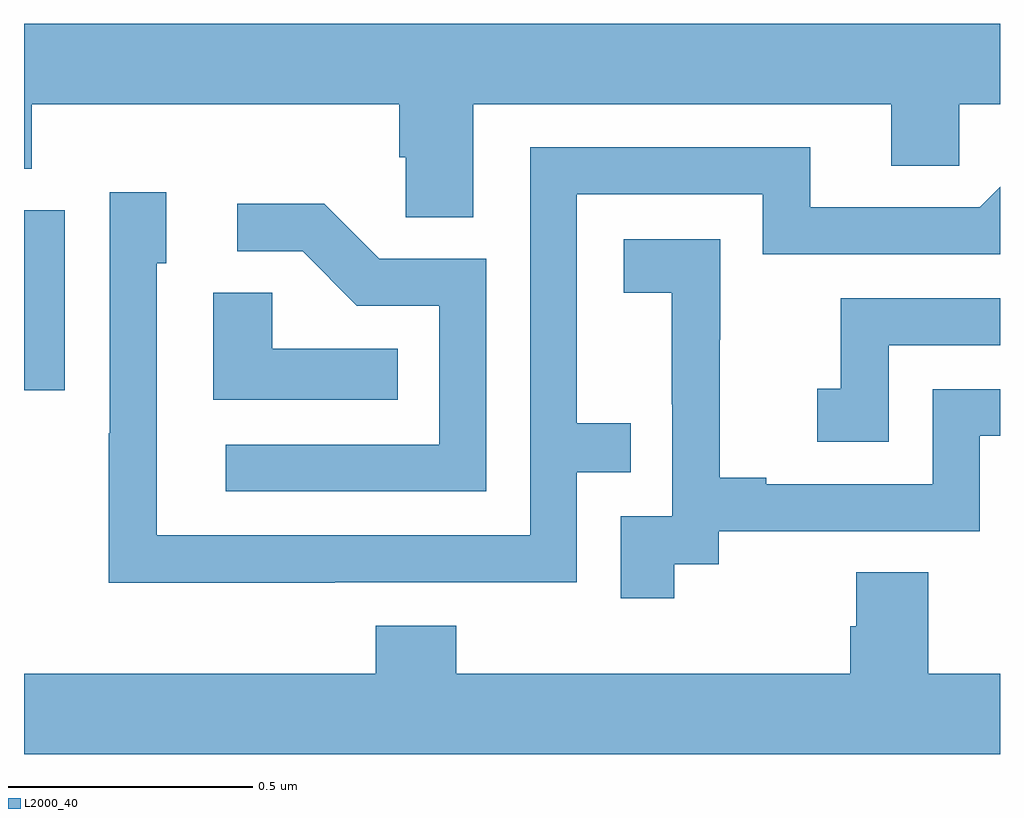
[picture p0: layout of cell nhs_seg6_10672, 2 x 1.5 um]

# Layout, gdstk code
import gdstk
lib = gdstk.Library(unit=1e-6, precision=1e-09)
def R(c, l, rs):  # rectangles x0, y0, x1, y1
    for r in rs: c.add(gdstk.rectangle(r[:2], r[2:], *l))
def P(c, l, *ps):  # polygons
    for p in ps: c.add(gdstk.Polygon(p, *l))
L2000_40 = (2000, 40)

nhs_seg6_10672 = lib.new_cell('nhs_seg6_10672')
R(nhs_seg6_10672, L2000_40, [(250,925.437,250.083,925.806)])
P(nhs_seg6_10672, L2000_40, [(250.921,926.024),(251.777,926.024),(251.777,925.897),(251.916,925.897),(251.916,926.024),(252,926.024),(252,926.188),(250,926.188),(250,925.891),(250.016,925.891),(250.016,926.024),(250.769,926.024),(250.769,925.915),(250.782,925.915),(250.782,925.792),(250.921,925.792)],
  [(250.637,925.044),(251.133,925.044),(251.133,925.269),(251.243,925.269),(251.243,925.37),(251.133,925.37),(251.133,925.839),(251.514,925.839),(251.514,925.716),(252,925.716),(252,925.854),(251.958,925.812),(251.611,925.812),(251.611,925.935),(251.037,925.935),(251.037,925.14),(250.272,925.14),(250.272,925.698),(250.291,925.698),(250.291,925.843),(250.176,925.843),(250.176,925.349),(250.174,925.349),(250.174,925.043),(250.637,925.043)],
  [(250.947,925.707),(250.728,925.707),(250.615,925.82),(250.437,925.82),(250.437,925.722),(250.571,925.722),(250.682,925.611),(250.851,925.611),(250.851,925.326),(250.413,925.326),(250.413,925.23),(250.947,925.23)],
  [(251.332,925.081),(251.424,925.081),(251.424,925.149),(251.958,925.149),(251.958,925.344),(252,925.344),(252,925.44),(251.862,925.44),(251.862,925.245),(251.521,925.245),(251.521,925.258),(251.426,925.258),(251.426,925.541),(251.427,925.541),(251.427,925.747),(251.229,925.747),(251.229,925.637),(251.327,925.637),(251.327,925.409),(251.328,925.409),(251.328,925.179),(251.223,925.179),(251.223,925.011),(251.332,925.011)],
  [(250.766,925.522),(250.509,925.522),(250.509,925.637),(250.388,925.637),(250.388,925.418),(250.766,925.418)],
  [(251.772,925.53),(252,925.53),(252,925.626),(251.674,925.626),(251.674,925.441),(251.625,925.441),(251.625,925.332),(251.772,925.332)],
  [(252,924.856),(251.853,924.856),(251.853,925.064),(251.705,925.064),(251.705,924.954),(251.693,924.954),(251.693,924.856),(250.886,924.856),(250.886,924.955),(250.721,924.955),(250.721,924.856),(250,924.856),(250,924.692),(252,924.692)])

lib.write_gds('nhs_seg6_10672.gds')
